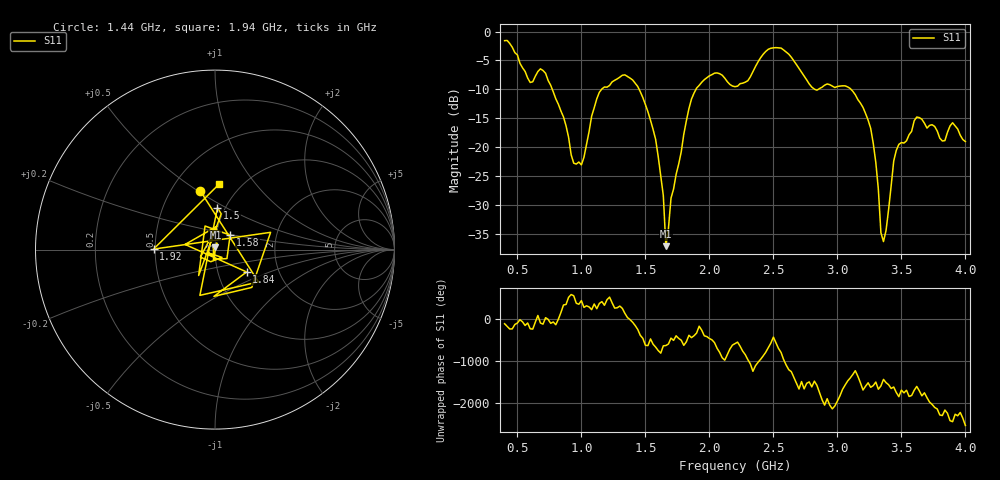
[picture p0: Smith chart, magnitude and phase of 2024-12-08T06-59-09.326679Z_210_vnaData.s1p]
!Created with skrf (http://scikit-rf.org).
# Hz S RI R 50.0
!freq ReS11 ImS11
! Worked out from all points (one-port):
!   181 points, 400 MHz to 4 GHz, reference 50 ohm
!   lowest |S11| = -37.1 dB at 1.66 GHz (marker M1), VSWR 1.03, Z = 50.2 + j1.39 ohm
!   |S11| at or under -10 dB: 772.7 MHz to 1.157 GHz (384.6 MHz wide, 39.9 % of centre); 1.451 GHz to 1.895 GHz (443.7 MHz wide, 26.5 % of centre); 3.107 GHz to end of sweep (the widest 3 of 4)
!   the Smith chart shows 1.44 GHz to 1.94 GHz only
!   S11 on the Smith chart (normalised r, x): 1.44 GHz: 0.70, +0.51; 1.5 GHz: 0.92, +0.45; 1.58 GHz: 1.17, +0.19; 1.84 GHz: 1.37, -0.36; 1.92 GHz: 0.49, +0.00; 1.94 GHz: 0.80, +0.67
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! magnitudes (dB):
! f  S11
! 400 MHz  -1.6
! 600 MHz  -8.8
! 720 MHz  -7.2
! 860 MHz  -14.8
! 940 MHz  -22.8
! 1 GHz  -23.0
! 1.14 GHz  -10.5
! 1.3 GHz  -7.9
! 1.44 GHz  -9.5
! 1.5 GHz  -12.6
! 1.58 GHz  -18.7
! 1.64 GHz  -28.4
! 1.66 GHz  -37.1
! 1.76 GHz  -22.9
! 1.84 GHz  -13.3
! 1.92 GHz  -9.3
! 1.94 GHz  -8.8
! 2.2 GHz  -9.5
! 2.46 GHz  -3.1
! 2.66 GHz  -5.1
! 2.82 GHz  -10.0
! 3.1 GHz  -9.8
! 3.26 GHz  -16.7
! 3.36 GHz  -36.3
! 3.44 GHz  -22.4
! 3.56 GHz  -17.8
! 3.62 GHz  -14.8
! 4 GHz  -19.0
